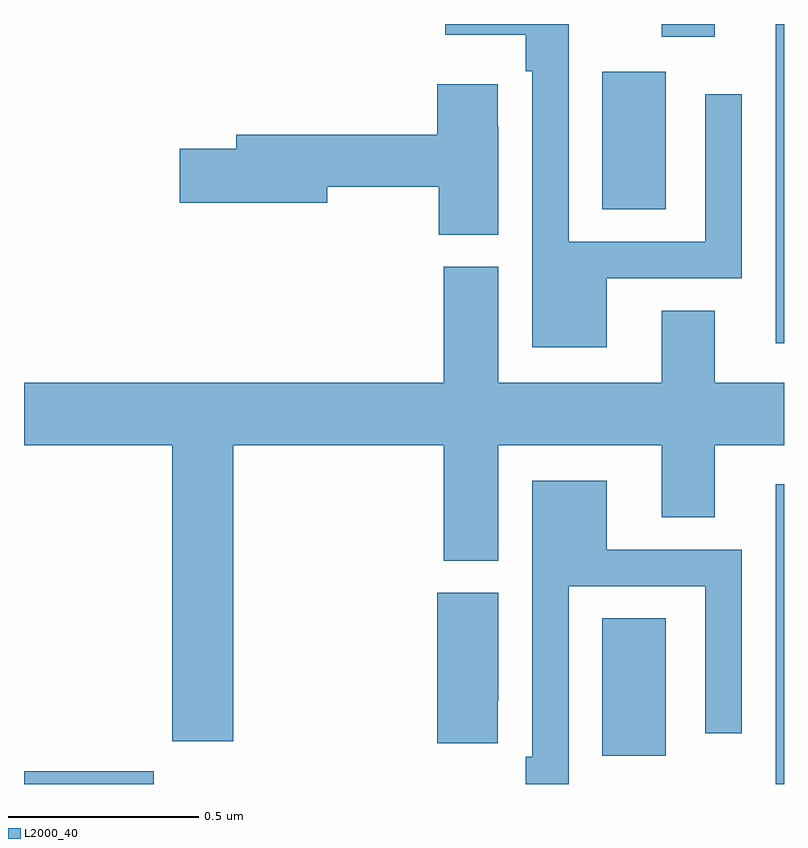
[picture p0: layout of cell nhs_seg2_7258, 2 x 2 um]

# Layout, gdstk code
import gdstk
lib = gdstk.Library(unit=1e-6, precision=1e-09)
def R(c, l, rs):  # rectangles x0, y0, x1, y1
    for r in rs: c.add(gdstk.rectangle(r[:2], r[2:], *l))
def P(c, l, *ps):  # polygons
    for p in ps: c.add(gdstk.Polygon(p, *l))
L2000_40 = (2000, 40)

nhs_seg2_7258 = lib.new_cell('nhs_seg2_7258')
R(nhs_seg2_7258, L2000_40, [(202,590.8,202.342,590.833), (203.978,590.8,204,591.589), (203.522,590.874,203.689,591.236), (203.978,591.96,204,592.8), (203.522,592.312,203.689,592.675), (203.678,592.767,203.818,592.8)])
P(nhs_seg2_7258, L2000_40, [(203.533,592.131),(203.889,592.131),(203.889,592.615),(203.793,592.615),(203.793,592.227),(203.433,592.227),(203.433,592.8),(203.109,592.8),(203.109,592.772),(203.321,592.772),(203.321,592.676),(203.337,592.676),(203.337,591.95),(203.533,591.95)],
  [(203.248,592.529),(203.247,592.529),(203.247,592.642),(203.087,592.642),(203.087,592.508),(202.559,592.508),(202.559,592.472),(202.41,592.472),(202.41,592.33),(202.798,592.33),(202.798,592.372),(203.092,592.372),(203.092,592.246),(203.248,592.246)],
  [(202.55,591.692),(203.105,591.692),(203.105,591.388),(203.248,591.388),(203.248,591.692),(203.678,591.692),(203.678,591.502),(203.818,591.502),(203.818,591.692),(204,591.692),(204,591.856),(203.818,591.856),(203.818,592.046),(203.678,592.046),(203.678,591.856),(203.248,591.856),(203.248,592.161),(203.105,592.161),(203.105,591.856),(202,591.856),(202,591.692),(202.39,591.692),(202.39,590.913),(202.55,590.913)],
  [(203.433,591.321),(203.793,591.321),(203.793,590.934),(203.889,590.934),(203.889,591.417),(203.533,591.417),(203.533,591.598),(203.337,591.598),(203.337,590.872),(203.321,590.872),(203.321,590.8),(203.433,590.8)],
  [(203.247,591.019),(203.248,591.019),(203.248,591.303),(203.087,591.303),(203.087,590.907),(203.247,590.907)])

lib.write_gds('nhs_seg2_7258.gds')
